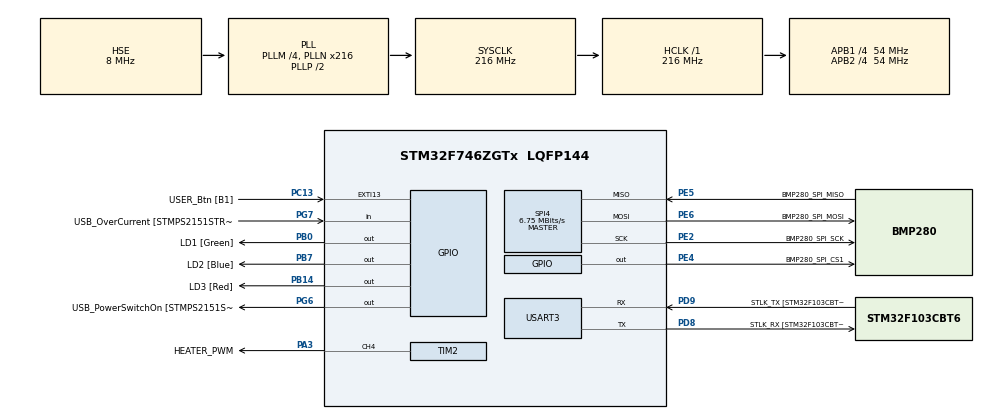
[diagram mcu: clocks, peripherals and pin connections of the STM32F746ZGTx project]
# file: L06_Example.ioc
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Mcu.Family=STM32F7
Mcu.Name=STM32F746ZGTx
Mcu.Package=LQFP144
NVIC.PriorityGroup=NVIC_PRIORITYGROUP_4
NVIC.USART3_IRQn=true\:0\:0\:false\:false\:true\:true\:true\:true
PA1.GPIO_Label=RMII_REF_CLK [LAN8742A-CZ-TR_REFCLK0]
PA1.Signal=ETH_REF_CLK
PA10.GPIO_Label=USB_ID
PA10.Signal=USB_OTG_FS_ID
PA11.GPIO_Label=USB_DM
PA11.Signal=USB_OTG_FS_DM
PA12.GPIO_Label=USB_DP
PA12.Signal=USB_OTG_FS_DP
PA13.GPIO_Label=TMS
PA13.Mode=Serial_Wire
PA13.Signal=SYS_JTMS-SWDIO
PA14.GPIO_Label=TCK
PA14.Mode=Serial_Wire
PA14.Signal=SYS_JTCK-SWCLK
PA2.GPIO_Label=RMII_MDIO [LAN8742A-CZ-TR_MDIO]
PA2.Signal=ETH_MDIO
PA3.GPIO_Label=HEATER_PWM
PA3.Signal=S_TIM2_CH4
PA7.GPIO_Label=RMII_CRS_DV [LAN8742A-CZ-TR_CRS_DV]
PA7.Signal=ETH_CRS_DV
PA8.GPIO_Label=USB_SOF [TP1]
PA8.Signal=USB_OTG_FS_SOF
PA9.GPIO_Label=USB_VBUS
PA9.Signal=USB_OTG_FS_VBUS
PB0.GPIO_Label=LD1 [Green]
PB0.Signal=GPIO_Output
PB13.GPIO_Label=RMII_TXD1 [LAN8742A-CZ-TR_TXD1]
PB13.Signal=ETH_TXD1
PB14.GPIO_Label=LD3 [Red]
PB14.Signal=GPIO_Output
PB3.GPIO_Label=SW0
PB3.Signal=SYS_JTDO-SWO
PB7.GPIO_Label=LD2 [Blue]
PB7.Signal=GPIO_Output
PC1.GPIO_Label=RMII_MDC [LAN8742A-CZ-TR_MDC]
PC1.Signal=ETH_MDC
PC13.GPIO_Label=USER_Btn [B1]
PC13.Signal=GPXTI13
PC14/OSC32_IN.Mode=LSE-External-Oscillator
PC14/OSC32_IN.Signal=RCC_OSC32_IN
PC15/OSC32_OUT.Mode=LSE-External-Oscillator
PC15/OSC32_OUT.Signal=RCC_OSC32_OUT
PC4.GPIO_Label=RMII_RXD0 [LAN8742A-CZ-TR_RXD0]
PC4.Signal=ETH_RXD0
PC5.GPIO_Label=RMII_RXD1 [LAN8742A-CZ-TR_RXD1]
PC5.Signal=ETH_RXD1
PD8.GPIO_Label=STLK_RX [STM32F103CBT6_PA3]
PD8.GPIO_PuPd=GPIO_PULLUP
PD8.Mode=Asynchronous
PD8.Signal=USART3_TX
PD9.GPIO_Label=STLK_TX [STM32F103CBT6_PA2]
PD9.GPIO_PuPd=GPIO_PULLUP
PD9.Mode=Asynchronous
PD9.Signal=USART3_RX
PE2.GPIO_Label=BMP280_SPI_SCK
PE2.Mode=Full_Duplex_Master
PE2.Signal=SPI4_SCK
PE4.GPIO_Label=BMP280_SPI_CS1
PE4.Signal=GPIO_Output
PE5.GPIO_Label=BMP280_SPI_MISO
PE5.Mode=Full_Duplex_Master
PE5.Signal=SPI4_MISO
PE6.GPIO_Label=BMP280_SPI_MOSI
PE6.Mode=Full_Duplex_Master
PE6.Signal=SPI4_MOSI
PG11.GPIO_Label=RMII_TX_EN [LAN8742A-CZ-TR_TXEN]
PG11.Signal=ETH_TX_EN
PG13.GPIO_Label=RMII_TXD0 [LAN8742A-CZ-TR_TXD0]
PG13.Signal=ETH_TXD0
PG6.GPIO_Label=USB_PowerSwitchOn [STMPS2151STR_EN]
PG6.Signal=GPIO_Output
PG7.GPIO_Label=USB_OverCurrent [STMPS2151STR_FAULT]
PG7.Signal=GPIO_Input
PH0/OSC_IN.GPIO_Label=MCO [STM32F103CBT6_PA8]
PH0/OSC_IN.Mode=HSE-External-Clock-Source
PH0/OSC_IN.Signal=RCC_OSC_IN
PH1/OSC_OUT.Mode=HSE-External-Clock-Source
PH1/OSC_OUT.Signal=RCC_OSC_OUT
ProjectManager.HeapSize=0x200
ProjectManager.StackSize=0x400
ProjectManager.TargetToolchain=STM32CubeIDE
RCC.48MHZClocksFreq_Value=24000000
RCC.AHBFreq_Value=216000000
RCC.APB1CLKDivider=RCC_HCLK_DIV4
RCC.APB1Freq_Value=54000000
RCC.APB1TimFreq_Value=108000000
RCC.APB2CLKDivider=RCC_HCLK_DIV4
RCC.APB2Freq_Value=54000000
RCC.APB2TimFreq_Value=108000000
RCC.CortexFreq_Value=216000000
RCC.HCLKFreq_Value=216000000
RCC.HSE_VALUE=8000000
RCC.HSI_VALUE=16000000
RCC.PLLM=4
RCC.PLLMUL=RCC_PLL_MUL9
RCC.PLLN=216
RCC.PLLQ=3
RCC.PLLSourceVirtual=RCC_PLLSOURCE_HSE
RCC.PRESCALERUSB=RCC_USBCLKSOURCE_PLL_DIV1_5
RCC.SYSCLKFreq_VALUE=216000000
RCC.SYSCLKSource=RCC_SYSCLKSOURCE_PLLCLK
RCC.SYSCLKSourceVirtual=RCC_SYSCLKSOURCE_PLLCLK
RCC.USBFreq_Value=144000000
RCC.VCOOutputFreq_Value=432000000
SH.S_TIM2_CH4.0=TIM2_CH4,PWM Generation4 CH4
SPI4.BaudRatePrescaler=SPI_BAUDRATEPRESCALER_8
SPI4.CLKPhase=SPI_PHASE_2EDGE
SPI4.CLKPolarity=SPI_POLARITY_HIGH
SPI4.CalculateBaudRate=6.75 MBits/s
SPI4.DataSize=SPI_DATASIZE_8BIT
SPI4.Direction=SPI_DIRECTION_2LINES
SPI4.Mode=SPI_MODE_MASTER
SPI4.VirtualType=VM_MASTER
TIM2.Channel-PWM\ Generation4\ CH4=TIM_CHANNEL_4
TIM2.Period=1000-1
TIM2.Prescaler=108-1
TIM7.Period=9999
TIM7.Prescaler=10799
USART3.VirtualMode-Asynchronous=VM_ASYNC
VP_TIM2_VS_ClockSourceINT.Mode=Internal
VP_TIM7_VS_ClockSourceINT.Mode=Enable_Timer
board=NUCLEO-F746ZG

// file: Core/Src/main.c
/* USER CODE BEGIN Header */
/**
  ******************************************************************************
  * @file           : main.c
  * @brief          : Main program body
  ******************************************************************************
  * @attention
  *
  * Copyright (c) 2024 STMicroelectronics.
  * All rights reserved.
  *
  * This software is licensed under terms that can be found in the LICENSE file
  * in the root directory of this software component.
  * If no LICENSE file comes with this software, it is provided AS-IS.
  *
  ******************************************************************************
  */
#define TASK 5
/* USER CODE END Header */
#include "main.h"
#include "spi.h"
#include "tim.h"
#include "usart.h"
#include "gpio.h"

/* USER CODE BEGIN Includes */
#if TASK == 2
#include "bmp2_config.h"
#endif
#if TASK == 3
#include <stdio.h>
#include "bmp2_config.h"
#endif
#if TASK == 4
#include <stdio.h>
#include "bmp2_config.h"
#endif
#if TASK == 5
#include <stdio.h>
#include <stdlib.h>
#include "bmp2_config.h"
#include "heater_config.h"
#endif
/* USER CODE END Includes */

/* USER CODE BEGIN PV */
#if TASK == 2
float temp_degC = 0.0f;
#endif
#if TASK == 3
float temp_degC = 0.0f;
#endif
#if TASK == 4
int temp_mdegC = 0;
int press_Pa = 0;
#endif
#if TASK == 5
int temp_mdegC = 0;
int press_Pa = 0;
uint8_t tx_buffer[8];
const int tx_msg_len = 4;
#endif
/* USER CODE END PV */

void SystemClock_Config(void);

/* USER CODE BEGIN 0 */
#if TASK == 3
int _write(int file, char *ptr, int len)
{
  return (HAL_UART_Transmit(&huart3, (uint8_t*)ptr, len, HAL_MAX_DELAY) == HAL_OK) ? len : -1;
}
#endif
#if TASK == 4
int _write(int file, char *ptr, int len)
{
  return (HAL_UART_Transmit(&huart3, (uint8_t*)ptr, len, HAL_MAX_DELAY) == HAL_OK) ? len : -1;
}
#endif
#if TASK == 5
int _write(int file, char *ptr, int len)
{
  return (HAL_UART_Transmit(&huart3, (uint8_t*)ptr, len, HAL_MAX_DELAY) == HAL_OK) ? len : -1;
}

/**
 * @brief  Rx Transfer completed callback.
 * @param  huart UART handle.
 * @retval None
 */
void HAL_UART_RxCpltCallback(UART_HandleTypeDef *huart)
{
 if(huart == &huart3)
 {
  HEATER_PWM_WriteDuty(&hheater, atoi((char*)&tx_buffer[1]));
  HAL_UART_Receive_IT(&huart3, tx_buffer, tx_msg_len);
 }
}

#endif
/* USER CODE END 0 */

int main(void)
{

  /* MCU Configuration--------------------------------------------------------*/

  /* Reset of all peripherals, Initializes the Flash interface and the Systick. */
  HAL_Init();

  /* Configure the system clock */
  SystemClock_Config();

  /* Initialize all configured peripherals */
  MX_GPIO_Init();
  MX_USART3_UART_Init();
  MX_SPI4_Init();
  MX_TIM2_Init();
  MX_TIM7_Init();
  /* USER CODE BEGIN 2 */
  #if TASK == 2
  BMP2_Init(&bmp2dev);
  #endif
  #if TASK == 3
  BMP2_Init(&bmp2dev);
  #endif
  #if TASK == 4
  BMP2_Init(&bmp2dev);
  #endif
  #if TASK == 5
  BMP2_Init(&bmp2dev);
  HEATER_PWM_Init(&hheater);
  HAL_UART_Receive_IT(&huart3, tx_buffer, tx_msg_len);
  HAL_TIM_Base_Start(&htim7);
  #endif
  /* USER CODE END 2 */

  /* Infinite loop */
  /* USER CODE BEGIN WHILE */
  while (1)
  {
    #if TASK == 2
    temp_degC = BMP2_ReadTemperature_degC(&bmp2dev);
    HAL_Delay(1000);
    #endif
    #if TASK == 3
    temp_degC = BMP2_ReadTemperature_degC(&bmp2dev);
    printf("{\"id\":1,\"temp\":%5.2f }\r\n", temp_degC);
    HAL_Delay(1000);
    #endif
    #if TASK == 4
    double temp, press;
    BMP2_ReadData(&bmp2dev, &press, &temp);
    temp_mdegC = 1000*temp;
    press_Pa = 100*press;
    printf("{\"id\":1,\"temp\":%5.2f, \"press\":%7.2f }\r\n", (float)temp, (float)press);
    HAL_Delay(250);
    #endif
    #if TASK == 5
    if(__HAL_TIM_GET_FLAG(&htim7, TIM_FLAG_UPDATE))
    {
      __HAL_TIM_CLEAR_FLAG(&htim7, TIM_FLAG_UPDATE);

      double temp, press;
      BMP2_ReadData(&bmp2dev, &press, &temp);
      temp_mdegC = 1000*temp;
      press_Pa = 100*press;
      printf("{\"id\":1,\"temp\":%5.2f, \"press\":%7.2f }\r\n", (float)temp, (float)press);
    }
    #endif
    /* USER CODE END WHILE */

  }
}

void SystemClock_Config(void)
{
  RCC_OscInitTypeDef RCC_OscInitStruct = {0};
  RCC_ClkInitTypeDef RCC_ClkInitStruct = {0};

  /** Configure LSE Drive Capability
  */
  HAL_PWR_EnableBkUpAccess();

  /** Configure the main internal regulator output voltage
  */
  __HAL_RCC_PWR_CLK_ENABLE();
  __HAL_PWR_VOLTAGESCALING_CONFIG(PWR_REGULATOR_VOLTAGE_SCALE1);

  /** Initializes the RCC Oscillators according to the specified parameters
  * in the RCC_OscInitTypeDef structure.
  */
  RCC_OscInitStruct.OscillatorType = RCC_OSCILLATORTYPE_HSE;
  RCC_OscInitStruct.HSEState = RCC_HSE_BYPASS;
  RCC_OscInitStruct.PLL.PLLState = RCC_PLL_ON;
  RCC_OscInitStruct.PLL.PLLSource = RCC_PLLSOURCE_HSE;
  RCC_OscInitStruct.PLL.PLLM = 4;
  RCC_OscInitStruct.PLL.PLLN = 216;
  RCC_OscInitStruct.PLL.PLLP = RCC_PLLP_DIV2;
  RCC_OscInitStruct.PLL.PLLQ = 3;
  if (HAL_RCC_OscConfig(&RCC_OscInitStruct) != HAL_OK)
  {
    Error_Handler();
  }

  /** Activate the Over-Drive mode
  */
  if (HAL_PWREx_EnableOverDrive() != HAL_OK)
  {
    Error_Handler();
  }

  /** Initializes the CPU, AHB and APB buses clocks
  */
  RCC_ClkInitStruct.ClockType = RCC_CLOCKTYPE_HCLK|RCC_CLOCKTYPE_SYSCLK
                              |RCC_CLOCKTYPE_PCLK1|RCC_CLOCKTYPE_PCLK2;
  RCC_ClkInitStruct.SYSCLKSource = RCC_SYSCLKSOURCE_PLLCLK;
  RCC_ClkInitStruct.AHBCLKDivider = RCC_SYSCLK_DIV1;
  RCC_ClkInitStruct.APB1CLKDivider = RCC_HCLK_DIV4;
  RCC_ClkInitStruct.APB2CLKDivider = RCC_HCLK_DIV4;

  if (HAL_RCC_ClockConfig(&RCC_ClkInitStruct, FLASH_LATENCY_7) != HAL_OK)
  {
    Error_Handler();
  }
}

void Error_Handler(void)
{
  __disable_irq();
  while (1)
  {
  }
}
